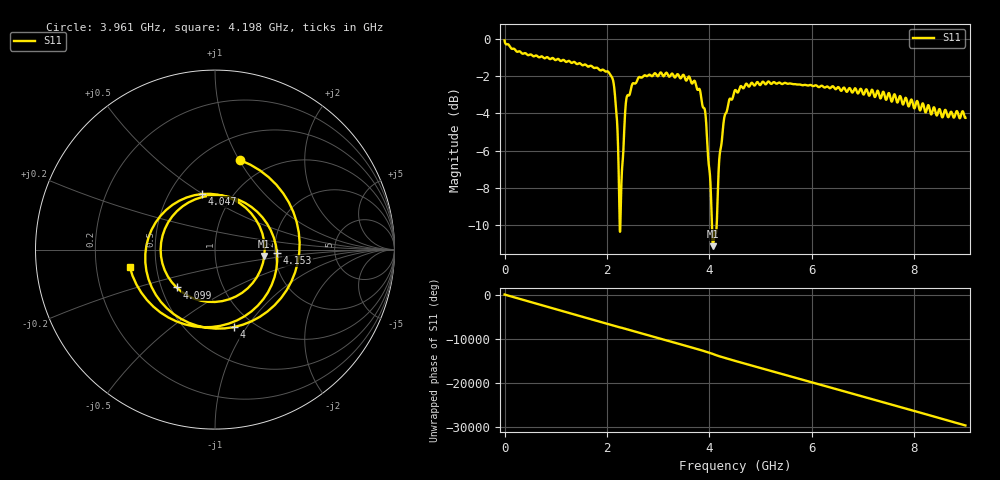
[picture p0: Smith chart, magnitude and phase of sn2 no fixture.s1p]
# Hz S DB R 50
! CMT, C1209, 21460007, 21.4.4/2
! Date: 4/14/2023 1:17:32 PM
! Data: Format (Calibration Info)
! Freq	S11:dB/Ang(--)
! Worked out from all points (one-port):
!   5000 points, 100 kHz to 9 GHz, reference 50 ohm
!   lowest |S11| = -11.1 dB at 4.071 GHz (marker M1), VSWR 1.77, Z = 87.6 - j6.62 ohm
!   |S11| at or under -10 dB: 2.247 GHz to 2.261 GHz (14.13 MHz wide, 0.627 % of centre); 4.048 GHz to 4.143 GHz (95.07 MHz wide, 2.32 % of centre)
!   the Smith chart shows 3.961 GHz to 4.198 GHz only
!   S11 on the Smith chart (normalised r, x): 3.961 GHz: 0.74, +1.01; 4 GHz: 0.81, -0.87; 4.047 GHz: 0.72, +0.50; 4.099 GHz: 0.60, -0.28; 4.153 GHz: 2.05, -0.09; 4.198 GHz: 0.35, -0.09
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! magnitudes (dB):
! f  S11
! 100 kHz  -0.1
! 1.125 GHz  -1.2
! 2.083 GHz  -2.0
! 2.168 GHz  -3.5
! 2.225 GHz  -6.8
! 2.251 GHz  -10.3
! 2.283 GHz  -7.6
! 2.332 GHz  -5.2
! 2.38 GHz  -3.2
! 2.497 GHz  -2.4
! 2.738 GHz  -2.0
! 3.376 GHz  -1.9
! 3.795 GHz  -2.7
! 3.901 GHz  -3.7
! 3.961 GHz  -5.7
! 4 GHz  -7.0
! 4.047 GHz  -10.0
! 4.071 GHz  -11.1
! 4.099 GHz  -10.4
! 4.153 GHz  -9.2
! 4.198 GHz  -6.3
! 4.238 GHz  -5.6
! 4.308 GHz  -4.0
! 4.501 GHz  -2.8
! 5.626 GHz  -2.4
! 6.751 GHz  -2.7
! 7.877 GHz  -3.5
! 9 GHz  -4.2
